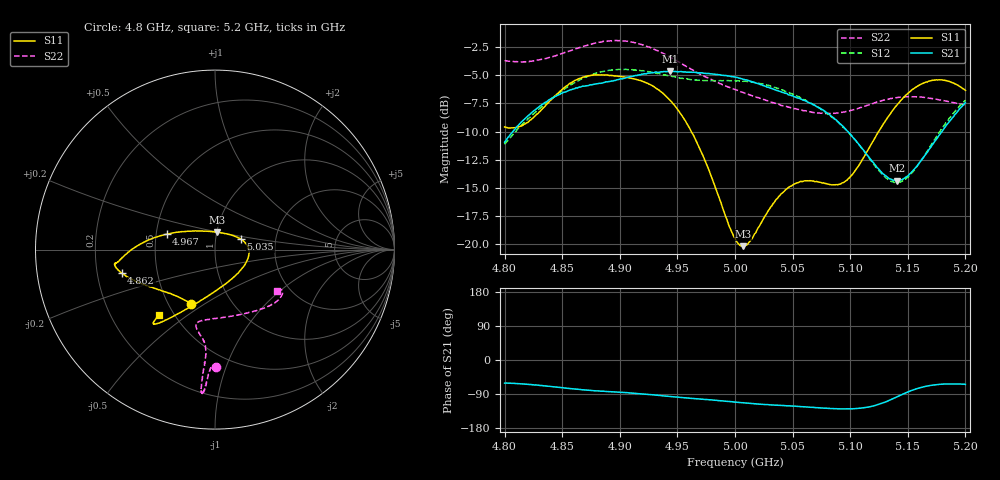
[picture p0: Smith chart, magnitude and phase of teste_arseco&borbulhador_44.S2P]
! Network Analyzer HP8722D
! Hewlett-Packard
! Data name: Linha & Wilkinson
! Saver's name: Rodrigo Anjos
! Comments: Teste da utilização de aquisição
! continua pelo VNA HP8722D
! Time and date: 15/4/2025 16:00
!  Frequency  S11  S21  S12  S22
# HZ  S  MA R 50
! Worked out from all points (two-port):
!   401 points, 4.8 GHz to 5.2 GHz, reference 50 ohm
!   highest |S21| = -4.64 dB at 4.944 GHz (marker M1); lowest = -14.4 dB at 5.141 GHz (marker M2)
!   |S21| within 3 dB of the highest: 4.832 GHz to 5.069 GHz (237.3 MHz wide, 4.79 % of centre); 5.198086 GHz to end of sweep
!   lowest |S11| = -20.2 dB at 5.007 GHz (marker M3), VSWR 1.22, Z = 50.4 + j9.84 ohm
!   |S11| at or under -10 dB: 4.962 GHz to 5.125 GHz (162.7 MHz wide, 3.23 % of centre)
!   |S22| runs from -8.4 to -1.9 dB; largest |S21 - S12| = 0.88
!   S11 on the Smith chart (normalised r, x): 4.8 GHz: 0.65, -0.44; 4.862 GHz: 0.31, -0.11; 4.967 GHz: 0.57, +0.11; 5.035 GHz: 1.33, +0.16; 5.2 GHz: 0.41, -0.39
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4.8e9  0.3316 -114.0  0.2836 -61.0  0.2774 -175.3  0.6536 -89.6
4.819e9  0.3457 -133.8  0.3665 -63.9  0.3539 -173.5  0.6482 -91.1
4.862e9  0.5363 -165.8  0.4949 -76.9  0.5271 -176.5  0.7397 -93.6
4.867e9  0.55 -167.8  0.5015 -78.5  0.5436 -177.6  0.7536 -93.8
4.902e9  0.554 -172.4  0.5427 -85.5  0.598 175.1  0.802 -95.3
4.934e9  0.4838 -178.3  0.5811 -93.5  0.5747 172.0  0.7185 -95.6
4.944e9  0.4343 177.2  0.586 -96.4  0.5579 171.9  0.6769 -95.5
4.967e9  0.2825 162.3  0.5783 -102.3  0.5358 173.9  0.579 -95.0
5e9  0.1059 106.4  0.5526 -111.0  0.5331 176.2  0.4866 -99.3
5.007e9  0.09766 82.2  0.5406 -112.7  0.5293 176.3  0.4721 -101.0
5.013e9  0.1026 62.8  0.5302 -114.4  0.5264 176.0  0.4602 -102.2
5.035e9  0.1557 21.9  0.4846 -119.3  0.4969 174.9  0.4228 -103.9
5.052e9  0.1852 4.4  0.4513 -121.9  0.4587 174.2  0.4001 -99.4
5.067e9  0.1908 -12.0  0.4191 -124.8  0.42 173.9  0.3847 -91.9
5.086e9  0.1832 -42.5  0.3628 -128.3  0.3599 173.9  0.3816 -77.4
5.097e9  0.1916 -65.7  0.3199 -129.1  0.3192 174.4  0.3884 -68.4
5.134e9  0.3744 -116.5  0.1951 -106.5  0.1918 -159.2  0.4421 -43.3
5.141e9  0.4175 -120.4  0.1908 -96.7  0.1873 -148.4  0.4485 -40.2
5.153e9  0.4822 -125.3  0.2078 -80.7  0.2055 -129.8  0.4521 -36.0
5.17e9  0.5326 -128.9  0.2694 -67.0  0.2746 -113.0  0.4444 -32.2
5.184e9  0.5316 -130.2  0.3404 -63.2  0.3508 -107.3  0.4313 -31.2
5.2e9  0.4819 -130.6  0.4247 -64.3  0.4357 -106.2  0.4156 -33.5
